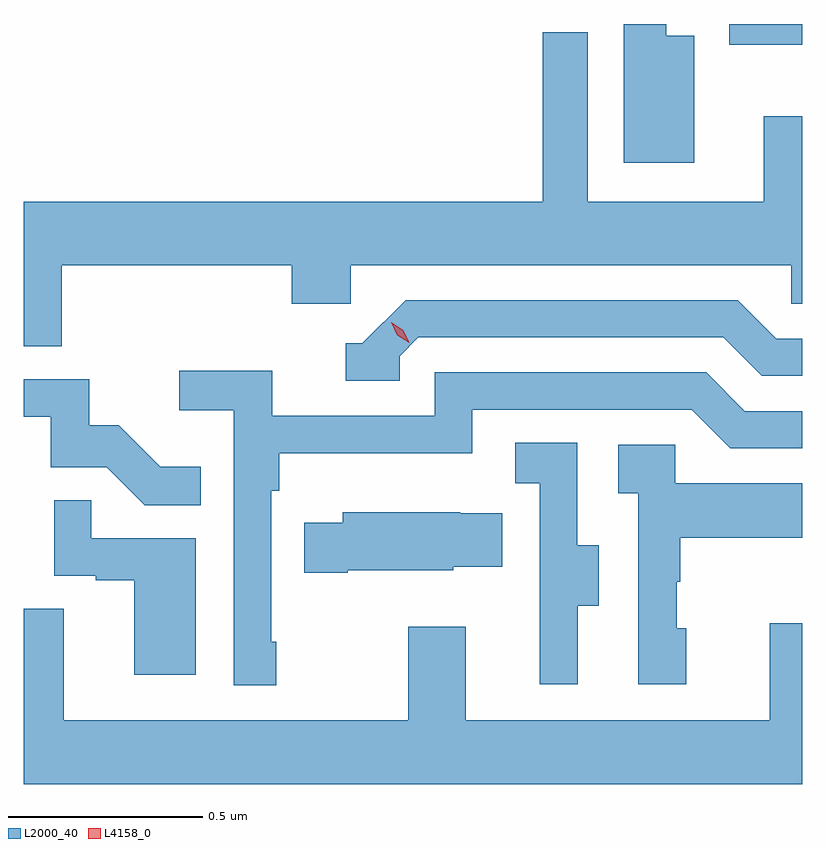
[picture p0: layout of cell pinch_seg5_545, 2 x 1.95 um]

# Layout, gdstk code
import gdstk
lib = gdstk.Library(unit=1e-6, precision=1e-09)
def R(c, l, rs):  # rectangles x0, y0, x1, y1
    for r in rs: c.add(gdstk.rectangle(r[:2], r[2:], *l))
def P(c, l, *ps):  # polygons
    for p in ps: c.add(gdstk.Polygon(p, *l))
L2000_40 = (2000, 40)
L4158_0 = (4158, 0)

pinch_seg5_545 = lib.new_cell('pinch_seg5_545')
R(pinch_seg5_545, L2000_40, [(985.386,840.011,985.574,840.064)])
P(pinch_seg5_545, L2000_40, [(985.297,840.034),(985.225,840.034),(985.225,840.064),(985.115,840.064),(985.115,839.708),(985.297,839.708)],
  [(983.672,839.444),(984.263,839.444),(984.263,839.346),(984.414,839.346),(984.414,839.444),(985.545,839.444),(985.545,839.346),(985.574,839.346),(985.574,839.827),(985.475,839.827),(985.475,839.608),(985.023,839.608),(985.023,840.043),(984.907,840.043),(984.907,839.608),(983.574,839.608),(983.574,839.236),(983.672,839.236)],
  [(984.54,839.211),(984.588,839.259),(985.371,839.259),(985.47,839.16),(985.574,839.16),(985.574,839.256),(985.507,839.256),(985.408,839.355),(984.555,839.355),(984.444,839.244),(984.401,839.244),(984.401,839.148),(984.54,839.148)],
  [(984.223,838.477),(984.21,838.477),(984.21,838.865),(984.23,838.865),(984.23,838.961),(984.726,838.961),(984.726,839.073),(985.29,839.073),(985.389,838.974),(985.574,838.974),(985.574,839.07),(985.426,839.07),(985.327,839.169),(984.63,839.169),(984.63,839.058),(984.212,839.058),(984.212,839.174),(983.973,839.174),(983.973,839.072),(984.114,839.072),(984.114,838.365),(984.223,838.365)],
  [(984.029,838.927),(983.925,838.927),(983.818,839.034),(983.742,839.034),(983.742,839.151),(983.574,839.151),(983.574,839.055),(983.643,839.055),(983.643,838.926),(983.787,838.926),(983.885,838.828),(984.029,838.828)],
  [(984.997,838.57),(985.051,838.57),(985.051,838.725),(984.996,838.725),(984.996,838.988),(984.837,838.988),(984.837,838.885),(984.9,838.885),(984.9,838.581),(984.899,838.581),(984.899,838.368),(984.997,838.368)],
  [(985.276,838.512),(985.251,838.512),(985.251,838.631),(985.261,838.631),(985.261,838.745),(985.574,838.745),(985.574,838.885),(985.248,838.885),(985.248,838.983),(985.101,838.983),(985.101,838.859),(985.152,838.859),(985.152,838.368),(985.276,838.368)],
  [(984.016,838.743),(983.747,838.743),(983.747,838.841),(983.652,838.841),(983.652,838.647),(983.759,838.647),(983.759,838.635),(983.858,838.635),(983.858,838.392),(984.016,838.392)],
  [(984.406,838.661),(984.678,838.661),(984.678,838.67),(984.803,838.67),(984.803,838.807),(984.695,838.807),(984.695,838.81),(984.393,838.81),(984.393,838.783),(984.295,838.783),(984.295,838.654),(984.406,838.654)],
  [(983.574,838.562),(983.574,838.112),(985.574,838.112),(985.574,838.525),(985.49,838.525),(985.49,838.276),(984.709,838.276),(984.709,838.516),(984.562,838.516),(984.562,838.276),(983.677,838.276),(983.677,838.562)])
P(pinch_seg5_545, L4158_0, [(984.564,839.245),(984.534,839.265),(984.518,839.298),(984.518,839.298),(984.518,839.298),(984.549,839.278),(984.565,839.246),(984.565,839.245)])

lib.write_gds('pinch_seg5_545.gds')
